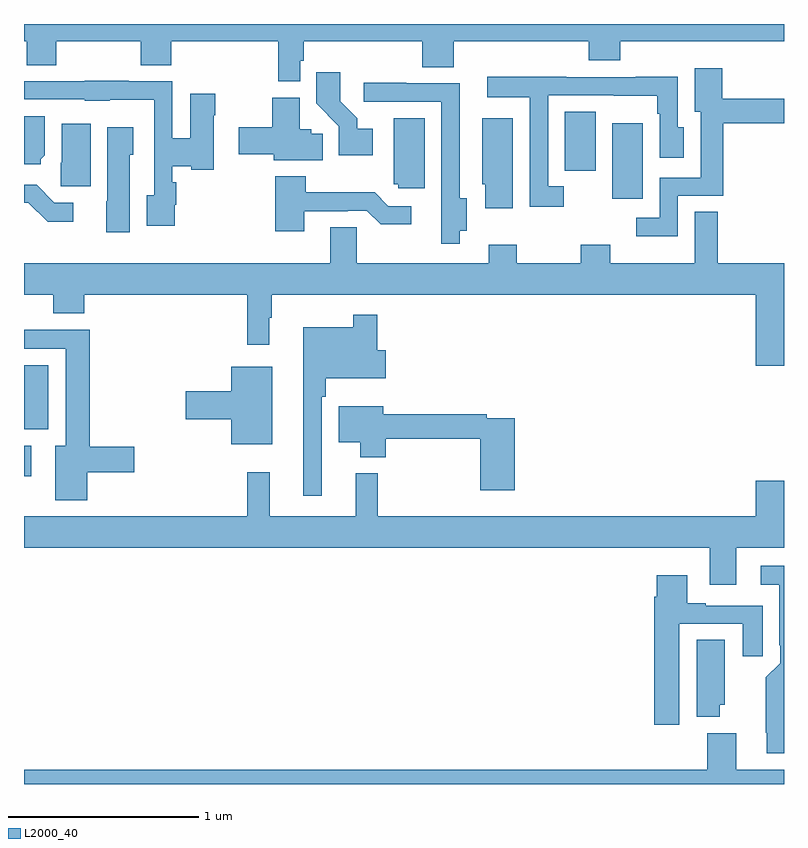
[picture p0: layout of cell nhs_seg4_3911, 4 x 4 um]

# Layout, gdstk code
import gdstk
lib = gdstk.Library(unit=1e-6, precision=1e-09)
def R(c, l, rs):  # rectangles x0, y0, x1, y1
    for r in rs: c.add(gdstk.rectangle(r[:2], r[2:], *l))
def P(c, l, *ps):  # polygons
    for p in ps: c.add(gdstk.Polygon(p, *l))
L2000_40 = (2000, 40)

nhs_seg4_3911 = lib.new_cell('nhs_seg4_3911')
R(nhs_seg4_3911, L2000_40, [(317,806.52,317.038,806.679), (317,806.768,317.128,807.103), (320.096,807.98,320.257,808.378), (319.847,808.128,320.008,808.439)])
P(nhs_seg4_3911, L2000_40, [(321,808.9),(317,808.9),(317,808.808),(317.014,808.808),(317.014,808.684),(317.169,808.684),(317.169,808.808),(317.614,808.808),(317.614,808.684),(317.774,808.684),(317.774,808.808),(318.337,808.808),(318.337,808.598),(318.453,808.598),(318.453,808.707),(318.473,808.707),(318.473,808.808),(319.097,808.808),(319.097,808.672),(319.262,808.672),(319.262,808.808),(319.973,808.808),(319.973,808.709),(320.138,808.709),(320.138,808.808),(321,808.808)],
  [(320.442,807.996),(320.68,807.996),(320.68,808.378),(321,808.378),(321,808.507),(320.675,808.507),(320.675,808.666),(320.531,808.666),(320.531,808.437),(320.561,808.437),(320.561,808.092),(320.346,808.092),(320.346,807.879),(320.223,807.879),(320.223,807.782),(320.442,807.782)],
  [(318.835,808.348),(318.754,808.348),(318.754,808.403),(318.664,808.493),(318.664,808.645),(318.538,808.645),(318.538,808.482),(318.657,808.363),(318.657,808.208),(318.835,808.208)],
  [(319.84,808.047),(319.758,808.047),(319.758,808.524),(320.104,808.524),(320.104,808.523),(320.334,808.523),(320.334,808.427),(320.346,808.427),(320.346,808.197),(320.473,808.197),(320.473,808.356),(320.442,808.356),(320.442,808.622),(320.221,808.622),(320.221,808.62),(319.855,808.62),(319.855,808.622),(319.437,808.622),(319.437,808.514),(319.662,808.514),(319.662,807.939),(319.84,807.939)],
  [(317.794,807.949),(317.801,807.949),(317.801,808.067),(317.781,808.067),(317.781,808.151),(317.88,808.151),(317.88,808.133),(317.998,808.133),(317.998,808.421),(318.006,808.421),(318.006,808.534),(317.876,808.534),(317.876,808.298),(317.781,808.298),(317.781,808.599),(317.551,808.599),(317.551,808.601),(317.319,808.601),(317.319,808.599),(317,808.599),(317,808.503),(317.319,808.503),(317.319,808.496),(317.451,808.496),(317.451,808.502),(317.685,808.502),(317.685,807.998),(317.645,807.998),(317.645,807.837),(317.794,807.837)],
  [(319.294,807.812),(319.33,807.812),(319.33,807.983),(319.293,807.983),(319.293,808.587),(319.013,808.587),(319.013,808.59),(318.789,808.59),(318.789,808.491),(319.197,808.491),(319.197,807.966),(319.196,807.966),(319.196,807.744),(319.294,807.744)],
  [(318.572,808.322),(318.513,808.322),(318.513,808.347),(318.451,808.347),(318.451,808.513),(318.307,808.513),(318.307,808.356),(318.129,808.356),(318.129,808.214),(318.314,808.214),(318.314,808.184),(318.572,808.184)],
  [(317.088,808.188),(317.11,808.21),(317.11,808.414),(317,808.414),(317,808.163),(317.088,808.163)],
  [(319.573,808.405),(319.412,808.405),(319.412,808.056),(319.427,808.056),(319.427,807.93),(319.573,807.93)],
  [(319.108,808.405),(318.947,808.405),(318.947,808.056),(318.969,808.056),(318.969,808.035),(319.108,808.035)],
  [(317.35,808.375),(317.198,808.375),(317.198,808.17),(317.194,808.17),(317.194,808.047),(317.35,808.047)],
  [(317.557,808.212),(317.575,808.212),(317.575,808.357),(317.438,808.357),(317.438,807.966),(317.432,807.966),(317.432,807.804),(317.557,807.804)],
  [(318.475,807.915),(318.704,807.915),(318.704,807.918),(318.804,807.918),(318.877,807.845),(319.039,807.845),(319.039,807.942),(318.918,807.942),(318.845,808.015),(318.483,808.015),(318.483,808.099),(318.323,808.099),(318.323,807.81),(318.475,807.81)],
  [(317.26,807.96),(317.16,807.96),(317.066,808.054),(317,808.054),(317,807.96),(317.022,807.96),(317.125,807.858),(317.26,807.858)],
  [(321,807.64),(320.65,807.64),(320.65,807.911),(320.531,807.911),(320.531,807.64),(320.085,807.64),(320.085,807.739),(319.93,807.739),(319.93,807.64),(319.593,807.64),(319.593,807.739),(319.445,807.739),(319.445,807.64),(318.75,807.64),(318.75,807.83),(318.611,807.83),(318.611,807.64),(317,807.64),(317,807.476),(317.153,807.476),(317.153,807.377),(317.318,807.377),(317.318,807.476),(318.175,807.476),(318.175,807.213),(318.292,807.213),(318.292,807.353),(318.304,807.353),(318.304,807.476),(320.852,807.476),(320.852,807.102),(321,807.102)],
  [(318.567,806.939),(318.587,806.939),(318.587,807.035),(318.904,807.035),(318.904,807.183),(318.86,807.183),(318.86,807.37),(318.732,807.37),(318.732,807.304),(318.47,807.304),(318.47,806.418),(318.567,806.418)],
  [(317.332,806.54),(317.581,806.54),(317.581,806.675),(317.345,806.675),(317.345,807.29),(317,807.29),(317,807.192),(317.219,807.192),(317.219,806.68),(317.165,806.68),(317.165,806.394),(317.332,806.394)],
  [(318.307,807.097),(318.092,807.097),(318.092,806.966),(317.85,806.966),(317.85,806.819),(318.092,806.819),(318.092,806.687),(318.307,806.687)],
  [(319.583,806.826),(319.436,806.826),(319.436,806.846),(318.892,806.846),(318.892,806.887),(318.656,806.887),(318.656,806.699),(318.77,806.699),(318.77,806.621),(318.905,806.621),(318.905,806.718),(319.4,806.718),(319.4,806.445),(319.583,806.445)],
  [(320.749,806.144),(321,806.144),(321,806.497),(320.852,806.497),(320.852,806.308),(318.863,806.308),(318.863,806.536),(318.746,806.536),(318.746,806.308),(318.293,806.308),(318.293,806.542),(318.175,806.542),(318.175,806.308),(317,806.308),(317,806.144),(320.609,806.144),(320.609,805.95),(320.749,805.95)],
  [(321,806.05),(320.877,806.05),(320.877,805.949),(320.975,805.949),(320.975,805.63),(320.979,805.63),(320.979,805.536),(320.905,805.462),(320.905,805.171),(320.909,805.171),(320.909,805.061),(321,805.061)],
  [(320.449,805.743),(320.783,805.743),(320.783,805.572),(320.887,805.572),(320.887,805.839),(320.587,805.839),(320.587,805.852),(320.491,805.852),(320.491,805.999),(320.33,805.999),(320.33,805.886),(320.318,805.886),(320.318,805.212),(320.449,805.212)],
  [(320.662,805.317),(320.689,805.317),(320.689,805.658),(320.54,805.658),(320.54,805.253),(320.662,805.253)],
  [(321,804.976),(320.749,804.976),(320.749,805.168),(320.597,805.168),(320.597,804.976),(317,804.976),(317,804.9),(321,804.9)])

lib.write_gds('nhs_seg4_3911.gds')
